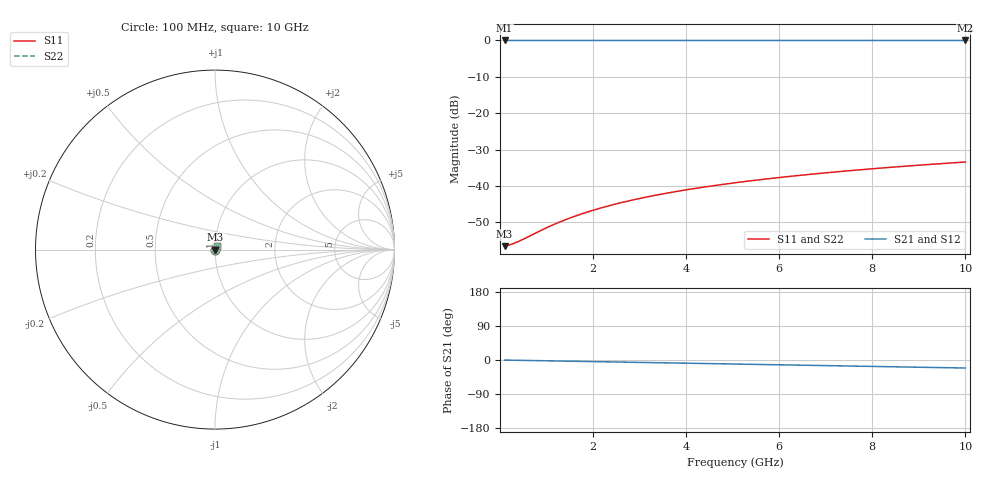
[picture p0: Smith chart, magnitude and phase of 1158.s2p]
# Hz S RI R 50.00
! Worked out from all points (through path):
!   100 points, 100 MHz to 10 GHz, reference 50 ohm
!   highest |S21| = -0.01 dB at 100 MHz (marker M1); lowest = 0.0 dB at 10 GHz (marker M2)
!   group delay of S21, straight-line fit = 5.89 ps
!   lowest |S11| = -56.6 dB at 100 MHz (marker M3), VSWR 1.00, Z = 50.1 + j0.0215 ohm
!   |S11| at or under -10 dB: start of sweep to end of sweep
!   |S22| runs from -56.6 to -33.4 dB; largest |S21 - S12| = 0
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1e8  0.00147 0.000214  0.9985 -0.00368  0.9985 -0.00368  0.00147 0.000214
2e8  0.00148 0.000428  0.9985 -0.00735  0.9985 -0.00735  0.00148 0.000428
3e8  0.00149 0.000642  0.9984 -0.011  0.9984 -0.011  0.00149 0.000642
4e8  0.0015 0.000855  0.9984 -0.0147  0.9984 -0.0147  0.0015 0.000855
1e9  0.00158 0.00213  0.9978 -0.0368  0.9978 -0.0368  0.00158 0.00213
1.3e9  0.00164 0.00277  0.9973 -0.0478  0.9973 -0.0478  0.00164 0.00277
1.5e9  0.00169 0.0032  0.9969 -0.0551  0.9969 -0.0551  0.00169 0.0032
1.8e9  0.00177 0.00383  0.9962 -0.0662  0.9962 -0.0662  0.00177 0.00383
2.1e9  0.00186 0.00446  0.9954 -0.0772  0.9954 -0.0772  0.00186 0.00446
2.5e9  0.00201 0.0053  0.9942 -0.0918  0.9942 -0.0918  0.00201 0.0053
2.9e9  0.00218 0.00613  0.9927 -0.1065  0.9927 -0.1065  0.00218 0.00613
3.4e9  0.00243 0.00716  0.9905 -0.1248  0.9905 -0.1248  0.00243 0.00716
3.8e9  0.00265 0.00797  0.9885 -0.1394  0.9885 -0.1394  0.00265 0.00797
4.2e9  0.0029 0.00878  0.9864 -0.154  0.9864 -0.154  0.0029 0.00878
4.6e9  0.00318 0.00958  0.9839 -0.1686  0.9839 -0.1686  0.00318 0.00958
5.1e9  0.00355 0.0106  0.9806 -0.1867  0.9806 -0.1867  0.00355 0.0106
5.9e9  0.00423 0.0121  0.9746 -0.2157  0.9746 -0.2157  0.00423 0.0121
6.7e9  0.005 0.0136  0.9678 -0.2444  0.9678 -0.2444  0.005 0.0136
7.5e9  0.00585 0.0151  0.96 -0.273  0.96 -0.273  0.00585 0.0151
8.4e9  0.00692 0.0167  0.9503 -0.305  0.9503 -0.305  0.00692 0.0167
9.2e9  0.00796 0.018  0.9408 -0.3331  0.9408 -0.3331  0.00796 0.018
1e10  0.00908 0.0193  0.9304 -0.3609  0.9304 -0.3609  0.00908 0.0193
